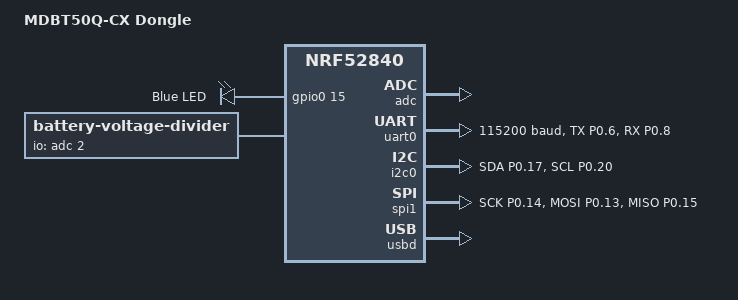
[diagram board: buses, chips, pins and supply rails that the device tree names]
/*
 * Copyright (c) 2020 The ZMK Contributors
 *
 * SPDX-License-Identifier: MIT
 */

/dts-v1/;
#include <nordic/nrf52840_qiaa.dtsi>

/ {
	model = "MDBT50Q-CX Dongle";
	compatible = "mdbt50q,cx", "nordic,nrf52840-qiaa", "nordic,nrf52840";

	chosen {
		zephyr,code-partition = &code_partition;
		zephyr,sram = &sram0;
		zephyr,flash = &flash0;
		zephyr,console = &cdc_acm_uart;
		zmk,battery = &vbatt;
	};

	leds {
		compatible = "gpio-leds";
		blue_led: led_0 {
			gpios = <&gpio0 15 GPIO_ACTIVE_HIGH>;
			label = "Blue LED";
		};
	};

	vbatt: vbatt {
		compatible = "zmk,battery-voltage-divider";
		label = "BATTERY";
		io-channels = <&adc 2>;
		output-ohms = <2000000>;
		full-ohms = <(2000000 + 806000)>;
	};
};

&adc {
	status = "okay";
};

&gpiote {
	status = "okay";
};

&gpio0 {
	status = "okay";
};

&gpio1 {
	status = "okay";
};

&uart0 {
	compatible = "nordic,nrf-uarte";
	status = "okay";
	current-speed = <115200>;
	pinctrl-0 = <&uart0_default>;
	pinctrl-1 = <&uart0_sleep>;
	pinctrl-names = "default", "sleep";
};

&i2c0 {
	compatible = "nordic,nrf-twi";
	status = "okay";
	pinctrl-0 = <&i2c0_default>;
	pinctrl-1 = <&i2c0_sleep>;
	pinctrl-names = "default", "sleep";
};

&spi1 {
	compatible = "nordic,nrf-spi";
	status = "okay";
	pinctrl-0 = <&spi1_default>;
	pinctrl-1 = <&spi1_sleep>;
	pinctrl-names = "default", "sleep";
};

&flash0 {
	partitions {
		compatible = "fixed-partitions";
		#address-cells = <1>;
		#size-cells = <1>;

		sd_partition: partition@0 {
			label = "mbr";
			reg = <0x00000000 0x00001000>;
		};
		code_partition: partition@1000 {
			label = "code_partition";
			reg = <0x00001000 0x000d3000>;
		};

		/*
		 * The flash starting at 0x000d4000 and ending at
		 * 0x000f3fff is reserved for use by the application.
		 */

		/*
		 * Storage partition will be used by FCB/LittleFS/NVS
		 * if enabled.
		 */
		storage_partition: partition@d4000 {
			label = "storage";
			reg = <0x000d4000 0x00020000>;
		};

		boot_partition: partition@f4000 {
			label = "adafruit_boot";
			reg = <0x000f4000 0x0000c000>;
		};
	};
};

&usbd {
	status = "okay";
	cdc_acm_uart: cdc_acm_uart {
		compatible = "zephyr,cdc-acm-uart";
		label = "CDC_ACM_0";
	};
};

&pinctrl {
	uart0_default: uart0_default {
		group1 {
			psels = <NRF_PSEL(UART_TX, 0, 6)>;
		};
		group2 {
			psels = <NRF_PSEL(UART_RX, 0, 8)>;
			bias-pull-up;
		};
	};

	uart0_sleep: uart0_sleep {
		group1 {
			psels = <NRF_PSEL(UART_TX, 0, 6)>,
				<NRF_PSEL(UART_RX, 0, 8)>;
			low-power-enable;
		};
	};

	i2c0_default: i2c0_default {
		group1 {
			psels = <NRF_PSEL(TWIM_SDA, 0, 17)>,
				<NRF_PSEL(TWIM_SCL, 0, 20)>;
		};
	};

	i2c0_sleep: i2c0_sleep {
		group1 {
			psels = <NRF_PSEL(TWIM_SDA, 0, 17)>,
				<NRF_PSEL(TWIM_SCL, 0, 20)>;
			low-power-enable;
		};
	};

	spi1_default: spi1_default {
		group1 {
			psels = <NRF_PSEL(SPIM_SCK, 0, 14)>,
				<NRF_PSEL(SPIM_MOSI, 0, 13)>,
				<NRF_PSEL(SPIM_MISO, 0, 15)>;
		};
	};

	spi1_sleep: spi1_sleep {
		group1 {
			psels = <NRF_PSEL(SPIM_SCK, 0, 14)>,
				<NRF_PSEL(SPIM_MOSI, 0, 13)>,
				<NRF_PSEL(SPIM_MISO, 0, 15)>;
			low-power-enable;
		};
	};
};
